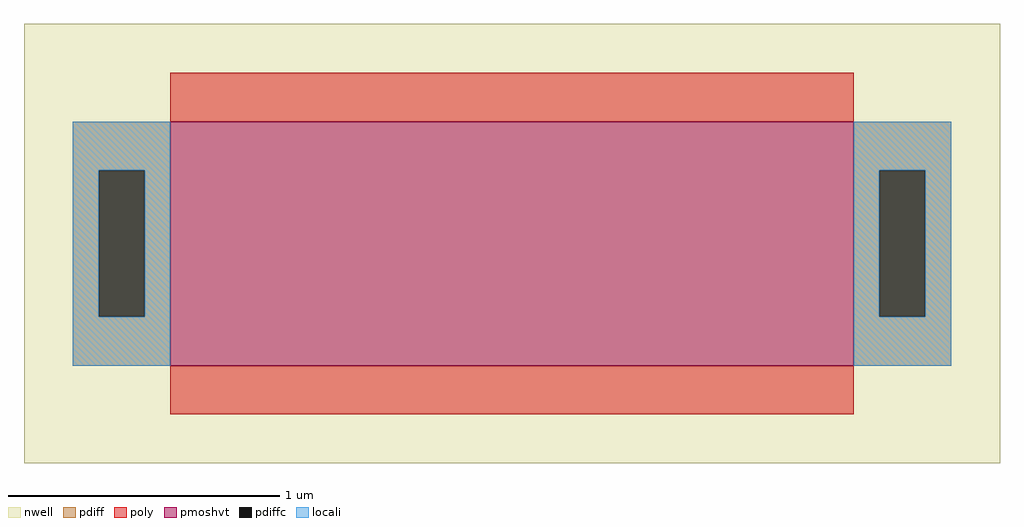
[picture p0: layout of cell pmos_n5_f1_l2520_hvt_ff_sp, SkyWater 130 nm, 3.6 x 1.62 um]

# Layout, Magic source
magic
tech sky130A
magscale 1 2
<< nwell >>
rect -72 -72 648 252
<< pmoshvt >>
rect 36 0 540 180
<< pdiff >>
rect -36 144 36 180
rect -36 36 -17 144
rect 17 36 36 144
rect -36 0 36 36
rect 540 144 612 180
rect 540 36 559 144
rect 593 36 612 144
rect 540 0 612 36
<< pdiffc >>
rect -17 36 17 144
rect 559 36 593 144
<< poly >>
rect 36 180 540 216
rect 36 -36 540 0
<< locali >>
rect -36 144 36 180
rect -36 36 -17 144
rect 17 36 36 144
rect -36 0 36 36
rect 540 144 612 180
rect 540 36 559 144
rect 593 36 612 144
rect 540 0 612 36
<< end >>
